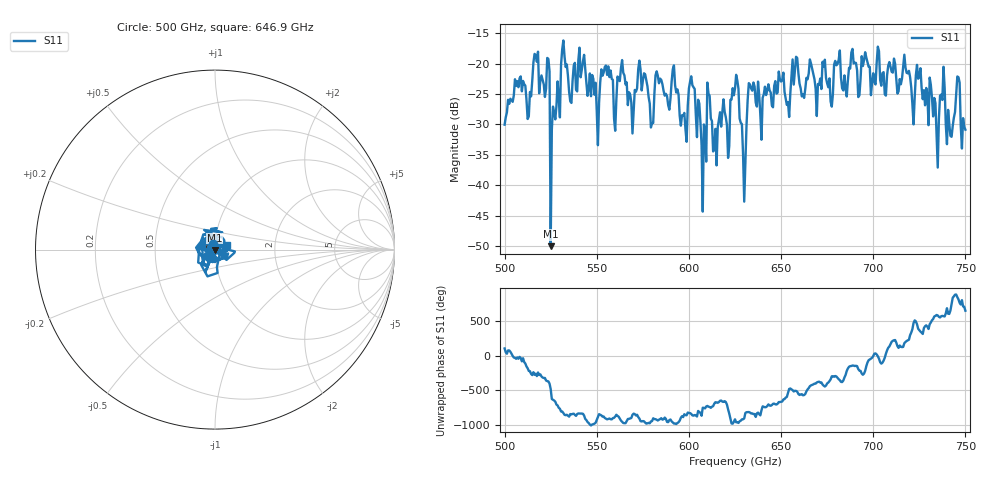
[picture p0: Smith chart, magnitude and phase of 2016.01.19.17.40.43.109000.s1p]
!Created with skrf (http://scikit-rf.org).
# GHz S RI R 50.0
!freq ReS11 ImS11
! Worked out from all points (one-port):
!   401 points, 500 GHz to 750 GHz, reference 50 ohm
!   lowest |S11| = -50.0 dB at 525 GHz (marker M1), VSWR 1.01, Z = 49.8 - j0.275 ohm
!   |S11| at or under -10 dB: start of sweep to end of sweep
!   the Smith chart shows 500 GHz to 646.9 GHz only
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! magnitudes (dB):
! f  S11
! 500 GHz  -30.0
! 506.9 GHz  -22.9
! 513.1 GHz  -28.7
! 516.9 GHz  -18.6
! 523.1 GHz  -19.1
! 525 GHz  -50.0
! 526.2 GHz  -27.1
! 531.2 GHz  -17.7
! 550 GHz  -27.9
! 562.5 GHz  -22.9
! 579.4 GHz  -30.5
! 593.8 GHz  -24.2
! 597.5 GHz  -28.1
! 601.9 GHz  -23.6
! 608.1 GHz  -30.0
! 611.2 GHz  -25.3
! 614.4 GHz  -30.7
! 625 GHz  -24.1
! 630 GHz  -42.7
! 633.8 GHz  -24.1
! 656.2 GHz  -19.3
! 687.5 GHz  -20.8
! 718.8 GHz  -21.6
! 733.8 GHz  -26.5
! 737.5 GHz  -26.0
! 741.2 GHz  -29.9
! 745.6 GHz  -22.1
! 750 GHz  -30.9
